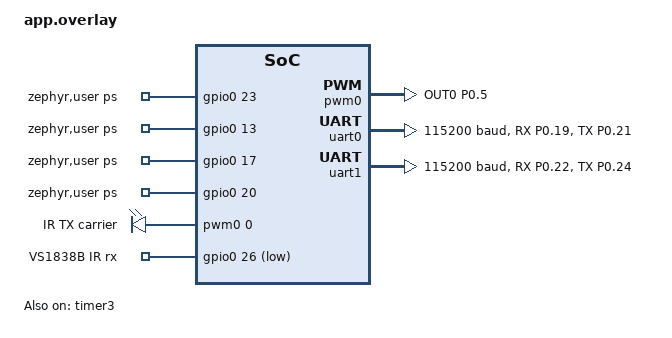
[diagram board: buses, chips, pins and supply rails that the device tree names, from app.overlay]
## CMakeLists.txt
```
# SPDX-License-Identifier: Apache-2.0

cmake_minimum_required(VERSION 3.20.0)
find_package(Zephyr REQUIRED HINTS $ENV{ZEPHYR_BASE})
project(TH-1-MOc)

set(NRF_CONFIG_NFCT_PINS_AS_GPIOS 1)
add_compile_definitions(NRF_CONFIG_NFCT_PINS_AS_GPIOS)

target_sources(app PRIVATE
    src/main.c
    src/ir_subsys.c
)
```

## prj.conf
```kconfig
CONFIG_LOG=y
CONFIG_GPIO=y
CONFIG_SERIAL=y
CONFIG_REBOOT=y
CONFIG_UART_INTERRUPT_DRIVEN=y

CONFIG_PWM=y
CONFIG_COUNTER=y

# Additional stack space for the main
# thread to handle long IR inputs
CONFIG_MAIN_STACK_SIZE=8192
```

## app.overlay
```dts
/ {
    chosen {
        zephyr,console = &uart0;
        zephyr,shell-uart = &uart0;
    };

    zephyr,user {
        // program select
        ps-gpios = <&gpio0 23 (GPIO_ACTIVE_HIGH)>,
                   <&gpio0 13 (GPIO_ACTIVE_HIGH)>,
                   <&gpio0 17 (GPIO_ACTIVE_HIGH)>,
                   <&gpio0 20 (GPIO_ACTIVE_HIGH)>;
    };

    ir_tx: ir_tx {
        compatible = "pwm-leds";
        status = "okay";

        ir_tx_led: ir_tx_led {
            pwms = <&pwm0 0 PWM_USEC(26) PWM_POLARITY_NORMAL>;
            label = "IR TX carrier";
        };
    };

    ir_rx: ir_rx {
        compatible = "gpio-keys";
        ir_rx_pin: ir_rx_pin {
            gpios = <&gpio0 26 (GPIO_ACTIVE_LOW | GPIO_PULL_UP)>;
            label = "VS1838B IR rx";
        };
    };

};

&pinctrl {
    uart0_default: uart0_default {
        group1 {
            psels = <NRF_PSEL(UART_RX, 0, 19)>,
                    <NRF_PSEL(UART_TX, 0, 21)>;
        };
    };

    uart1_default: uart1_default {
        group1 {
            psels = <NRF_PSEL(UART_RX, 0, 22)>,
                    <NRF_PSEL(UART_TX, 0, 24)>;
        };
    };

    pwm0_ir_default: pwm0_ir_default {
        group1 {
            psels = <NRF_PSEL(PWM_OUT0, 0, 5)>;
        };
    };

    pwm0_ir_sleep: pwm0_ir_sleep {
        group1 {
            psels = <NRF_PSEL(PWM_OUT0, 0, 5)>;
            low-power-enable;
        };
    };
};


&pwm0 {
    status = "okay";
    pinctrl-0 = <&pwm0_ir_default>;
    pinctrl-1 = <&pwm0_ir_sleep>;
    pinctrl-names = "default", "sleep";
};

&uart0 {
    status = "okay";
    current-speed = <115200>;
    pinctrl-0 = <&uart0_default>;
    pinctrl-names = "default";
    /delete-property/ pinctrl-1;
};

&uart1 {
    status = "okay";
    current-speed = <115200>;
    pinctrl-0 = <&uart1_default>;
    pinctrl-names = "default";
    /delete-property/ pinctrl-1;
};

// 16Mhz for IR
&timer3 {
    status = "okay";
    prescaler = <4>;
};

&uicr {
    nfct-pins-as-gpios;
    gpio-as-nreset;
};
```

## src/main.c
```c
#include <stdint.h>
#include <string.h>
#include <errno.h>

#include <zephyr/kernel.h>
#include <zephyr/device.h>
#include <zephyr/device.h>
#include <zephyr/devicetree.h>
#include <zephyr/drivers/uart.h>

#include <zephyr/logging/log.h>
#include <zephyr/logging/log_core.h>

#include "th_ble.h"
#include "th_infrared.h"


#define UART_DEVICE_NODE DT_CHOSEN(zephyr_shell_uart)


#define MSG_SIZE 512


// store up to 10 messages aligned to 4-byte boundary in a queue
K_MSGQ_DEFINE(uart_msgq, MSG_SIZE, 10, 4);
LOG_MODULE_REGISTER(TH_IO, LOG_LEVEL_INF);


static int rx_buf_pos;
static char rx_buf[MSG_SIZE];

const struct device *const uart_dev = DEVICE_DT_GET(DT_CHOSEN(zephyr_console));

void print_uart(char *buf);
void serial_cb(const struct device *dev, void *user_data);
int8_t argument_dispatch(char *input);

int main(void)
{
    int err;
    char tx_buf[MSG_SIZE];

    if (!device_is_ready(uart_dev))
    {
        LOG_ERR("Uart device is not ready!");
        return -1;
    }
    // configure interrupt and callback to receive data
    err = uart_irq_callback_user_data_set(uart_dev, serial_cb, NULL);
    if (err < 0)
    {
        if (err == -ENOTSUP)
            LOG_ERR("Interrupt-driver UART API support not enabled!");
        else if (err == -ENOSYS)
            LOG_ERR("UART device does not support interrupt-driven API!");
        else
            LOG_ERR("Error setting UART callback! (err: %d)", err);

        return 0;
    }

    uart_irq_rx_enable(uart_dev);
    LOG_INF("System initialised!");

    while (k_msgq_get(&uart_msgq, &tx_buf, K_FOREVER) == 0)
    {
        // I don't trust this thing
        tx_buf[MSG_SIZE-1] = '\0';
        print_uart(tx_buf);
        print_uart("\r\n");

        argument_dispatch(tx_buf);
    }
    return 0;

}


/*
 * Read characters from UART until line end is detected. Afterwards push the
 * data to the message queue.
 */
void serial_cb(const struct device *dev, void *user_data)
{
    uint8_t c;

    if (!uart_irq_update(uart_dev))
        return;

    if (!uart_irq_rx_ready(uart_dev))
        return;

    /* read until FIFO empty */
    while (uart_fifo_read(uart_dev, &c, 1) == 1)
    {
        if ((c == '\n' || c == '\r') && rx_buf_pos > 0)
        {
            /* terminate string */
            rx_buf[rx_buf_pos] = '\0';

            /* if queue is full, message is silently dropped */
            k_msgq_put(&uart_msgq, &rx_buf, K_NO_WAIT);

            /* reset the buffer (it was copied to the msgq) */
            rx_buf_pos = 0;
        }
        else if (rx_buf_pos < (sizeof(rx_buf) - 1))
        {
            rx_buf[rx_buf_pos++] = c;
        }
        /* else: characters beyond buffer size are dropped */
    }
}

/*
 * Print a null-terminated string character by character to the UART interface
 */
void print_uart(char *buf)
{
    int msg_len = strlen(buf);

    for (int i = 0; i < msg_len; i++) {
        uart_poll_out(uart_dev, buf[i]);
    }
}


/*
 * Dispatch the base level command (first word) to the 
 * correct sub-dispatcher.
 */
int8_t argument_dispatch(char *input)
{
    char *unprocessed;
    char *token = strtok_r(input, " ", &unprocessed);

    if (token == NULL)
        return -EINVAL;


    if (strcmp(token, "ble") == 0)
    {
        ble_argument_dispatch(unprocessed);
        return 0;
    }

    if (strcmp(token, "ir") == 0)
    {
        ir_argument_dispatch(unprocessed);
        return 0;
    }

    if (strcmp(input, "help") == 0)
    {
        LOG_INF("help");
        return 0;
    }

    LOG_WRN("Invalid command! (%s %s)", input, unprocessed);
    return -ENOSYS;
}
```

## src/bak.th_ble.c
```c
#include <string.h>
#include <stdint.h>
#include <stdbool.h>
#include <zephyr/kernel.h>
#include <zephyr/net_buf.h>
#include <zephyr/sys/util.h>
#include <zephyr/sys/printk.h>

#include <zephyr/bluetooth/hci.h>
#include <zephyr/bluetooth/gap.h>
#include <zephyr/bluetooth/att.h>
#include <zephyr/bluetooth/gatt.h>
#include <zephyr/bluetooth/conn.h>
#include <zephyr/bluetooth/addr.h>
#include <zephyr/bluetooth/uuid.h>
#include <zephyr/bluetooth/bluetooth.h>
#include <zephyr/bluetooth/assigned_numbers.h>


static void connected(struct bt_conn *conn, uint8_t err);
static void disconnected(struct bt_conn *conn, uint8_t reason);
static bool data_cb(struct bt_data *data, void *user_data);
static void device_found (const bt_addr_le_t *addr, int8_t rssi, uint8_t type, struct net_buf_simple *ad);
static uint8_t discover_callback(struct bt_conn *conn, const struct bt_gatt_attr *attr, struct bt_gatt_discover_params *params);


static struct bt_conn *target_conn;
static struct bt_le_scan_param scan_param = {
    .type      = BT_LE_SCAN_TYPE_ACTIVE,
    .options   = BT_LE_SCAN_OPT_NONE,
    .interval  = BT_GAP_SCAN_FAST_INTERVAL,
    .window    = BT_GAP_SCAN_FAST_WINDOW
};

struct bt_uuid_16 uuid = BT_UUID_INIT_16(0);
struct bt_gatt_discover_params discover_params = {0};
static bool restart_scanner = true;

BT_CONN_CB_DEFINE(conn_callbacks) = {
    .connected = connected,
    .disconnected = disconnected,
};


int ble_scan()
{
    int err;

    err = bt_enable(NULL);
    if (err)
    {
        printk("Bluetooth init failed.. (err: %d)\n", err);
        return -1;
    }

    while (true)
    {
        if (restart_scanner)
        {
            printk("Starting up scanner...\n");
            err = bt_le_scan_start(&scan_param, device_found);
            if (err)
            {
                printk("Failed to start scanning... (err: %d)\n", err);
                return -2;
            }
            restart_scanner = false;
        }
        k_sleep(K_SECONDS(1));
    }
    return 0;
}




static bool data_cb(struct bt_data *data, void *user_data)
{
    char *name = user_data;
    uint8_t len;

    switch (data->type)
    {
        case BT_DATA_NAME_COMPLETE:
        case BT_DATA_NAME_SHORTENED:
            // NOTE: 30 is the number that was defined in the original
            // bluetooth/sample/observer program. Not sure why.
            len = MIN(data->data_len, 30-1);
            memcpy(name, data->data, len);
            name[len] = '\0';
            return false;
        default: 
            return true;

    }
}


static void device_found (const bt_addr_le_t *addr, int8_t rssi, uint8_t type, struct net_buf_simple *ad)
{
    int err;
    if (target_conn)
    {
        printk("ignoring\n");
        return;
    }

    char addr_str[BT_ADDR_LE_STR_LEN];
    char name[] = "[Unknown]";

    bt_data_parse(ad, data_cb, name);
    bt_addr_le_to_str(addr, addr_str, sizeof(addr_str));

    if ((err = bt_le_scan_stop()) != 0)
    {
        printk("ERROR: Failed to stop scanning... (err: %d)\n", err);
        return;
    }


    /* if (rssi < -60) */
    /* { */
    /*     printk("Target found, but signal connection too low. (rssi: %d)\nRetrying in 1 second...\n", rssi); */
    /*     k_sleep(K_SECONDS(1)); */
    /*     restart_scanner = true; */
    /*     return; */
    /* } */


    printk("Target found!\n");

    if ((err = bt_conn_le_create(addr, BT_CONN_LE_CREATE_CONN, BT_LE_CONN_PARAM_DEFAULT, &target_conn) != 0))
    {
        printk("Failed to connect to target.. (err: %d)\n", err);
        return;
    }

}




static void connected(struct bt_conn *conn, uint8_t err)
{
    printk("Connected callback\n");
    int error;

    discover_params.uuid = NULL;
    discover_params.func = discover_callback;
    discover_params.start_handle = BT_ATT_FIRST_ATTRIBUTE_HANDLE;
    discover_params.end_handle   = BT_ATT_LAST_ATTRIBUTE_HANDLE;
    discover_params.type = BT_GATT_DISCOVER_CHARACTERISTIC;

    if ((error = bt_gatt_discover(conn, &discover_params)) != 0)
    {
        printk("Attribute discovery failed.. (err: %d)\n", err);
        return;
    }
}

static void disconnected(struct bt_conn *conn, uint8_t reason)
{
    printk("disconnected callback\n");
    printk("client disconnected. Reason: %d", reason);
    restart_scanner = true;
    target_conn = NULL;
    k_sleep(K_SECONDS(1));
    return;
}


static uint8_t discover_callback(struct bt_conn *conn, const struct bt_gatt_attr *attr, struct bt_gatt_discover_params *params)
{
    printk("Discover callback\n");
    if (!attr)
    {
        printk("Discovery complete!\n");
        (void)memset(params, 0, sizeof(*params));
        return BT_GATT_ITER_STOP;
    }

    char uuid_str[BT_UUID_STR_LEN];

    bt_uuid_to_str(attr->uuid, uuid_str, sizeof(uuid_str));
    printk("[ATTRIBUTE] Handle: %u, UUID: %s\n", attr->handle, uuid_str);


    if (params->type == BT_GATT_DISCOVER_PRIMARY || params->type == BT_GATT_DISCOVER_SECONDARY)
    {
        struct bt_gatt_chrc *val = (struct bt_gatt_chrc *)attr->user_data;
        printk("\tType: Service\n");
        printk("\tValue Handle: %u\n", val->value_handle);
        const struct bt_uuid *uuidl = val->uuid;
        bt_uuid_to_str(uuidl, uuid_str, sizeof(uuid_str));
        printk("\tUUID: %s\n", uuid_str);

    }
    else if (params->type == BT_GATT_DISCOVER_CHARACTERISTIC)
    {
        struct bt_gatt_chrc *val = (struct bt_gatt_chrc *)attr->user_data;
        printk("\tType: Characteristic\n");
        printk("\tValue Handle: %u\n", val->value_handle);
        printk("\tProperties: 0x%02x\n", val->properties);
    }
    else if (params->type == BT_GATT_DISCOVER_ATTRIBUTE)
    {
        struct bt_gatt_chrc *val = (struct bt_gatt_chrc *)attr->user_data;
        printk("\tType: Characteristic\n");
        printk("\tValue Handle: %u\n", val->value_handle);
        printk("\tProperties: 0x%02x\n", val->properties);
    }
    else if (params->type == BT_GATT_DISCOVER_DESCRIPTOR)
        printk("\tType: Descriptor");

    return BT_GATT_ITER_CONTINUE;
}
```

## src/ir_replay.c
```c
#include <stdint.h>
#include <stdlib.h>

#include <zephyr/kernel.h>
#include <zephyr/device.h>
#include <zephyr/sys/util.h>
#include <zephyr/devicetree.h>
#include <zephyr/drivers/pwm.h>
#include <zephyr/dt-bindings/pwm/pwm.h>

#include <zephyr/logging/log.h>
#include <zephyr/logging/log_core.h>


LOG_MODULE_REGISTER(ir_replay, LOG_LEVEL_INF);


// Carrier config
#define IR_CARRIER_HZ   38000U
#define IR_PERIOD_NS    PWM_HZ(IR_CARRIER_HZ)
#define IR_PULSE_NS     (IR_PERIOD_NS / 3U)   /* ~33% duty */


static const struct pwm_dt_spec ir_pwm = PWM_DT_SPEC_GET(DT_NODELABEL(ir_tx_led));


// This is just a test sequence, it turns on an IR controlled
// light I own.
static const uint32_t raw_data[] = {
    8995, 4461,  638,  512,  588,  528,  595,  532,  569,  563,
     598,  533,  599,  534,  598,  529,  590,  567,  551, 1635,
     617, 1611,  621, 1612,  598, 1638,  592, 1660,  606, 1608,
     619, 1615,  638, 1601,  592, 1654,  581,  536,  588, 1638,
     598,  530,  600,  534,  594,  537,  589, 1644,  589,  562,
     580,  534,  593, 1639,  592,  536,  611, 1627,  583, 1647,
     594, 1663,  574,  534,  590, 1646,  607, 39810, 9035, 2205
};

static const uint32_t raw_data1[] = {
    9015, 4467,  622,  527,  590,  526,  605,  524,  577,  554,
     624,  506,  572,  610,  559,  523,  594,  533,  599, 1622,
     643, 1572,  601, 1626,  662, 1601,  615, 1593,  601, 1634,
     622, 1607,  652, 1606,  607, 1608,  649, 1573,  634, 1607,
     621,  536,  598,  533,  598,  552,  558, 1629,  625,  528,
     594,  541,  593,  509,  594,  538,  641, 1597,  584, 1665,
     582, 1636,  589,  536,  593, 1632,  600, 39817, 9048, 2198
};

static int ir_transmit(const uint32_t *duration_us, size_t count);



int main(void)
{
    int err;

    if (!(err = pwm_is_ready_dt(&ir_pwm)))
    {
        LOG_ERR("PWM device %s is not ready! (err: %d)", ir_pwm.dev->name, err);
        return err;
    }


    /*
     * Make sure the carrier starts off. Setting period+pulse with
     * pulse=0 establishes the period without producing output.
     */
    if ((err = pwm_set_dt(&ir_pwm, IR_PERIOD_NS, 0)) != 0)
    {
        LOG_ERR("PWM initial set failed! (err: %d)", err);
        return err;
    }

    LOG_INF("IR replay ready. Period=%ld ns, pulse=%ld ns, %zu symbols", IR_PERIOD_NS, IR_PULSE_NS, ARRAY_SIZE(raw_data));



    while (1)
    {
        LOG_INF("Transmitting...");
        if ((err = ir_transmit(raw_data, ARRAY_SIZE(raw_data))) != 0)
        {
            LOG_ERR("Transmit failed! (err: %d)", err);
            return err;
        }
        k_sleep(K_SECONDS(1));

        if ((err = ir_transmit(raw_data1, ARRAY_SIZE(raw_data1))) != 0)
        {
            LOG_ERR("Transmit failed! (err: %d)", err);
            return err;
        }
        k_sleep(K_SECONDS(1));
    }
}



static int ir_transmit(const uint32_t *duration_us, size_t count)
{
    int err;

    for (size_t i = 0; i < count; i++)
    {
        const uint32_t us = duration_us[i];


        // Even offsets in the array are marks, odd ones are 0s
        if ((i & 1U) == 0U)
        {
            if ((err = pwm_set_pulse_dt(&ir_pwm, IR_PULSE_NS)) != 0)
            {
                LOG_ERR("PWM pulse generation failed! (err: %d)", err);
                return err;
            }
            k_busy_wait(us);

            if ((err = pwm_set_pulse_dt(&ir_pwm, 0)) != 0)
            {
                LOG_ERR("PWM off failed! (err: %d)", err);
                return err;
            }
        }
        else
        {
            k_busy_wait(us);
        }
    }
    return 0;
}















/*
 * Notes on BLE coexistence -- courtesy of Dario himself
 * ------------------------
 * This implementation runs from the main (preemptible) thread and uses
 * k_busy_wait() between PWM transitions. It will NOT disrupt BLE timing,
 * but BLE events WILL preempt it and insert gaps (typically <3 ms) into
 * the IR frame.
 *
 * If decode reliability with BLE active is poor, in order of escalating
 * effort:
 *   1. Re-send the frame 2-3x (NEC remotes do this anyway).
 *   2. Move the transmit loop into a cooperative-priority thread
 *      (K_PRIO_COOP(7) or so). This stops other application threads
 *      from preempting, but BLE interrupts still will.
 *   3. Switch the carrier driver to nrfx_pwm sequence playback, which
 *      runs entirely in the PWM peripheral via EasyDMA. The CPU only
 *      sets it up and gets a "done" interrupt — BLE can't disturb it.
 */
```

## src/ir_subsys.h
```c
#ifndef TH_IR_SUBSYS_H
#define TH_IR_SUBSYS_H

#include <stdint.h>

int8_t init_ir_subsys();

#endif
```

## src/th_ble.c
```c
#include <stdio.h>
#include <string.h>
#include <stdint.h>
#include <stdbool.h>
#include <zephyr/kernel.h>
#include <zephyr/net_buf.h>
#include <zephyr/sys/util.h>
#include <zephyr/sys/printk.h>
#include <zephyr/logging/log.h>
#include <zephyr/logging/log_core.h>

#include <zephyr/bluetooth/hci.h>
#include <zephyr/bluetooth/gap.h>
#include <zephyr/bluetooth/att.h>
#include <zephyr/bluetooth/gatt.h>
#include <zephyr/bluetooth/conn.h>
#include <zephyr/bluetooth/addr.h>
#include <zephyr/bluetooth/uuid.h>
#include <zephyr/bluetooth/bluetooth.h>
#include <zephyr/bluetooth/assigned_numbers.h>

#include "th_ble.h"
#include "bt_company_ids.h"

LOG_MODULE_REGISTER(TH_BLE, LOG_LEVEL_INF);

static struct bt_conn *active_conn;
static int MIN_RSSI = -100;

static bool ble_initialised = false;

/* static void connected(struct bt_conn *conn, uint8_t err); */
static bool data_cb(struct bt_data *data, void *user_data);
/* static void disconnected(struct bt_conn *conn, uint8_t reason); */
static void device_found (const bt_addr_le_t *addr, int8_t rssi, uint8_t type, struct net_buf_simple *ad);


static struct bt_le_scan_param scan_param = {
    .type      = BT_LE_SCAN_TYPE_ACTIVE,
    .options   = BT_LE_SCAN_OPT_NONE,
    .interval  = BT_GAP_SCAN_FAST_INTERVAL,
    .window    = BT_GAP_SCAN_FAST_WINDOW
};


struct bt_uuid_16 uuid = BT_UUID_INIT_16(0);
struct bt_gatt_discover_params discover_params = {0};




int8_t ble_argument_dispatch(char *input)
{
    int err;
    char *unprocessed;
    char *token = strtok_r(input, " ", &unprocessed);

    if (token == NULL)
    {
        LOG_WRN("Incomplete BLE command! (%s)", input);
        return -EINVAL;
    }

    if (strcmp(token, "scan") == 0)
    {
        token = strtok_r(NULL, " ", &unprocessed);
        if (token == NULL)
        {
            LOG_WRN("Incomplete ble scan command! (%s)", input);
            return -EINVAL;
        }

        if (strcmp(token, "start") == 0)
        {
            if (!ble_initialised)
                if ((err = ble_initialise()) != 0)
                    return err;
            return scan_start();
        }

        if (strcmp(token, "stop") == 0)
            return scan_stop();
    }

    if (strcmp(token, "find") == 0)
    {
        LOG_WRN("Not yet implemented!");
        return (int8_t)-ENOTSUP;
    }

    LOG_WRN("Incorrect BLE command! (%s)", input);
    return -ENOSYS;
}



/* BT_CONN_CB_DEFINE(conn_callbacks) = { */
/*     .connected = connected, */
/*     .disconnected = disconnected, */
/* }; */
/*  */
int8_t ble_initialise()
{
    int err;
    if ((err = bt_enable(NULL)))
    {
        LOG_ERR("Bluetooth module initialisation failed! (err: %d)\n", err);
        return -1;
    }
    ble_initialised = true;
    return 0;
}

int8_t scan_start()
{
    int err;
    if ((err = bt_le_scan_start(&scan_param, device_found)))
    {
        LOG_ERR("Failed to start scanning! (err: %d)", err);
        return -EIO;
    }
    return 0;
}

int8_t scan_stop()
{
    int err;
    if ((err = bt_le_scan_stop()) != 0)
    {
        printk("ERROR: Failed to stop scanning... (err: %d)\n", err);
        return -EIO;
    }
    return 0;
}


static void device_found (const bt_addr_le_t *addr, int8_t rssi, uint8_t type, struct net_buf_simple *ad)
{
    int err;
    if (active_conn)
    {
        LOG_INF("Ignoring connection while other in place.");
        return;
    }

    char addr_str[BT_ADDR_LE_STR_LEN];
    char name[256] = "[Unknown]";

    bt_data_parse(ad, data_cb, name);
    bt_addr_le_to_str(addr, addr_str, sizeof(addr_str));

    if (rssi < MIN_RSSI)
        return;

    LOG_INF("%s %s %d", name, addr_str, rssi);

    /* if ((err = bt_conn_le_create(addr, BT_CONN_LE_CREATE_CONN, BT_LE_CONN_PARAM_DEFAULT, &active_conn) != 0)) */
    /* { */
    /*     printk("Failed to connect to target.. (err: %d)\n", err); */
    /*     return; */
    /* } */

}


static bool data_cb(struct bt_data *data, void *user_data)
{
    char *name = user_data;
    uint8_t len;
    uint8_t name_len = 0;

    switch (data->type)
    {
        case BT_DATA_MANUFACTURER_DATA:
            // Need at least 2 bytes for company ID
            if (data->data_len < 3)
                return true; // continue parsing

            // Company ID is little-endian in the first 2 bytes
            uint16_t company_id = data->data[0] | (data->data[1] << 8);

            int cname_len;
            // returns 0 or negative if not found
            if ((cname_len = search_company_id(company_id, name, MAX_NAME_LEN/2)) > 0)
                name_len += cname_len;

            uint8_t br_type = data->data[2];

            switch (br_type)
            {
                case 0x12:
                    snprintf((char *)name+name_len, MAX_NAME_LEN - name_len,  "%s", " FindMy device ");
                    name_len += 14;
                    break;
                default:
                    snprintf((char *)name+name_len, MAX_NAME_LEN - name_len,  "%s", " device ");
                    name_len += 7;
            }

            name[name_len] = '\0';
            return true;

        case BT_DATA_NAME_COMPLETE:
        case BT_DATA_NAME_SHORTENED:
            // NOTE: 30 is the number that was defined in the original
            // bluetooth/sample/observer program. Not sure why.
            len = MIN(data->data_len, 30-1);
            memcpy(name, data->data, len);
            name[len] = '\0';
            return false;
        default: 
            return true;

    }
}

int8_t search_company_id(uint16_t cid, char *c_name, size_t c_name_size)
{
    for (int i = 0; i < BT_COMPANY_IDS_COUNT; i++)
    {
        if (bt_company_ids[i].code == cid)
            return snprintf(c_name, c_name_size, "%s", bt_company_ids[i].name);
    }
    return -1;
}
```

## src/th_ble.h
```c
#ifndef TH_BLE_H
#define TH_BLE_H
#include <stdint.h>
#include <stdlib.h>


#define MAX_NAME_LEN 256

int8_t ble_initialise();
int8_t ble_argument_dispatch(char *input);

int8_t scan_stop();
int8_t scan_start();
int8_t search_company_id(uint16_t cid, char *c_name, size_t c_name_size);

#endif
```

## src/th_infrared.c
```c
#include <stdio.h>
#include <string.h>
#include <stdint.h>
#include <stdlib.h>
#include <stdbool.h>

#include <zephyr/kernel.h>
#include <zephyr/device.h>
#include <zephyr/toolchain.h>

#include <zephyr/devicetree.h>
#include <zephyr/dt-bindings/pwm/pwm.h>

#include <zephyr/drivers/pwm.h>
#include <zephyr/drivers/gpio.h>
#include <zephyr/drivers/counter.h>

#include <zephyr/sys/util.h>
#include <zephyr/sys/util_macro.h>

#include <zephyr/logging/log.h>
#include <zephyr/logging/log_core.h>


LOG_MODULE_REGISTER(TH_IR, LOG_LEVEL_INF);


// TX config
#define IR_CARRIER_HZ   38000U
#define IR_PERIOD_NS    PWM_HZ(IR_CARRIER_HZ)
#define IR_PULSE_NS     (IR_PERIOD_NS / 3U)   /* ~33% duty */

// RX config
#define MAX_EDGES        500
#define FRAME_GAP_MS     150
#define EDGE_QUEUE_DEPTH 64 // ISR thread handoff buffer


static const struct pwm_dt_spec ir_tx_pwm = PWM_DT_SPEC_GET(DT_NODELABEL(ir_tx_led));
static const struct gpio_dt_spec ir_rx_pin = GPIO_DT_SPEC_GET(DT_NODELABEL(ir_rx_pin), gpios);
static const struct device *const rx_counter_dev = DEVICE_DT_GET(DT_NODELABEL(timer2));

static bool ir_tx_setup_done = false;
static bool ir_rx_setup_done = false;
static bool ir_rx_watch_once = true;

static int8_t ir_tx_setup();
static int8_t ir_tx(const uint32_t *duration_us, size_t count);
static int ir_txt_process_sample_count(char *input);
static int ir_txt_process(char *input, uint32_t *raw_frame, int num_samples);

static int8_t ir_rx_setup();
static int8_t rx_init_handler();
static int8_t rx_deinit_handler();
static int8_t rx_watch_once();
static int8_t rx_watch_continuous();
static void emit_frame();
static void frame_complete_handler(struct k_work *work);
static inline uint32_t ticks_to_us(uint32_t delta_ticks);

//RX ISR config
struct edge_event {
    uint32_t ticks;
};
struct gpio_callback ir_rx_cb_data;
K_MSGQ_DEFINE(edge_msgq, sizeof(struct edge_event), EDGE_QUEUE_DEPTH, 4);
static void ir_rx_isr(const struct device *port, struct gpio_callback *cb, gpio_port_pins_t pins);

// RX frame config
static uint32_t edge_tick[MAX_EDGES];
static size_t edge_count;
// Can cache the frequency at startup so ticks_to_us() doesn't
// have to call into the driver on every edge.
static uint32_t counter_freq;


// For the idle gap detector
static K_WORK_DELAYABLE_DEFINE(frame_complete_work, frame_complete_handler);


/* ----------------------------- */
/*           dispatch            */
/* ----------------------------- */

int8_t ir_argument_dispatch(char *input)
{
    int err;
    char *unprocessed;
    char *token = strtok_r(input, " ", &unprocessed);

    if (token == NULL)
    {
        LOG_WRN("Incomplete IR command! (%s)", input);
        return -EINVAL;
    }


    if (strcmp(token, "play") == 0)
    {
        if (!ir_tx_setup_done)
        {
            if ((err = ir_tx_setup()) != 0)
            {
                LOG_ERR("IR_RX setup failed! (err: %d)", err);
                return err;
            }
        }

        int num_samples = ir_txt_process_sample_count(unprocessed);
        uint32_t raw_frame[num_samples];
        if ((err = ir_txt_process(unprocessed, raw_frame, num_samples)) != 0)
        {
            LOG_ERR("String processing error! (err: %d)", err);
            return err;
        }

        return ir_tx(raw_frame, num_samples);
    }
    else if (strcmp(token, "record") == 0)
    {
        if (!ir_rx_setup_done)
        {
            if ((err = ir_rx_setup()) != 0)
            {
                LOG_ERR("IR_RX setup failed! (err: %d)", err);
                return err;
            }
        }

        token = strtok_r(NULL, " ", &unprocessed);
        if (token == NULL)
        {
            LOG_INF("Waiting for IR signal...");
            return rx_watch_once();
        }
        else if (strcmp(token, "con") == 0)
        {
            LOG_INF("Waiting for IR signal...");
            return rx_watch_continuous();
        }
        else if (strcmp(token, "stop") == 0)
        {
            LOG_INF("No longer recording IR");
            return rx_deinit_handler();
        }
    }

    return 0;
}



/* ----------------------------- */
/*              IR TX            */
/* ----------------------------- */

static int8_t ir_tx_setup()
{
    int err;

    if (!(err = pwm_is_ready_dt(&ir_tx_pwm)))
    {
        LOG_ERR("PWM device %s is not ready! (err: %d)", ir_tx_pwm.dev->name, err);
        return err;
    }


    /*
     * Make sure the carrier starts off. Setting period+pulse with
     * pulse=0 establishes the period without producing output.
     */
    if ((err = pwm_set_dt(&ir_tx_pwm, IR_PERIOD_NS, 0)) != 0)
    {
        LOG_ERR("PWM initial set failed! (err: %d)", err);
        return err;
    }

    LOG_INF("IR_TX module ready! Period=%ld ns, pulse=%ld ns", IR_PERIOD_NS, IR_PULSE_NS);

    ir_tx_setup_done = true;

    return 0;
}


static int ir_txt_process(char *input, uint32_t *raw_frame, int num_samples)
{
    int n;
    int consumed = 0;

    for (size_t i = 0; i < num_samples; i++)
    {
        if ((n = sscanf(input, "%u%n", &raw_frame[i], &consumed)) != 1)
        {
            LOG_ERR("Error processing user string, invalid data at index %d", i);
            return -EINVAL;
        }
        input += consumed;
    }


    return 0;
}

static int ir_txt_process_sample_count(char *input)
{
    int samples = 0;
    char current;
    char previous = ' ';
    size_t inputlen = strlen(input);

    for (size_t i = 0; i < inputlen; i++)
    {
        current = input[i];

        if (current != ' ' && previous == ' ')
            samples++;

        previous = input[i];
    }
    return samples;
}




// NOTE this function takes a binary input.
// I will either need to change it to take a text input or make
// a different function to translate it (probably the second).
static int8_t ir_tx(const uint32_t *duration_us, size_t count)
{

    if (!ir_tx_setup_done)
    {
        LOG_ERR("IR_TX function called before IR pins are setup!");
        return -1;
    }

    int err;

    for (size_t i = 0; i < count; i++)
    {
        const uint32_t us = duration_us[i];


        // Even offsets in the array are marks, odd ones are 0s
        if ((i & 1U) == 0U)
        {
            if ((err = pwm_set_pulse_dt(&ir_tx_pwm, IR_PULSE_NS)) != 0)
            {
                LOG_ERR("PWM pulse generation failed! (err: %d)", err);
                return err;
            }
            k_busy_wait(us);

            if ((err = pwm_set_pulse_dt(&ir_tx_pwm, 0)) != 0)
            {
                LOG_ERR("PWM off failed! (err: %d)", err);
                return err;
            }
        }
        else
        {
            k_busy_wait(us);
        }
    }
    return 0;
}


/* ----------------------------- */
/*              IR RX            */
/* ----------------------------- */

static int8_t ir_rx_setup()
{
    int err;

    if (!(err = gpio_is_ready_dt(&ir_rx_pin)))
    {
        LOG_ERR("IR_RX GPIO not ready! (err: %d)", err);
        return -ENODEV;
    }


    if (!(err = device_is_ready(rx_counter_dev)))
    {
        LOG_ERR("IR_RX counter device not ready! (err: %d)", err);
        return -ENODEV;
    }

    // Checking for 0 to avoid div by zero errors coming up
    // later. Although 0 in itself is most likely invalid anyway.
    if ((counter_freq = counter_get_frequency(rx_counter_dev)) == 0)
    {
        LOG_ERR("IR counter reports an invalid frequency of 0");
        return -EINVAL;
    }

    // Start the counter
    // the counter should count up at 1mhz. After bit more
    // than an hour it should overflow and restart. This is
    // not a concern.
    if ((err = counter_start(rx_counter_dev)) != 0)
    {
        LOG_ERR("Starting IR counter failed! (err: %d)", err);
        return err;
    }
    LOG_INF("IR counter device ready!");

    if ((err = gpio_pin_configure_dt(&ir_rx_pin, GPIO_INPUT)) != 0)
    {
        LOG_ERR("Failed to configure IR receiver pin! (err: %d)", err);
        return err;
    }


    gpio_init_callback(&ir_rx_cb_data, ir_rx_isr, BIT(ir_rx_pin.pin));
    gpio_add_callback(ir_rx_pin.port, &ir_rx_cb_data);

    LOG_INF("IR receiver device ready!");
    ir_rx_setup_done = true;

    return 0;
}


static int8_t rx_init_handler()
{
    int err;
    // The VS1838B receiver will give a digital output
    // corresponding to the received IR signal.
    if ((err = gpio_pin_interrupt_configure_dt(&ir_rx_pin, GPIO_INT_EDGE_BOTH)) != 0)
    {
        LOG_ERR("Failed to configure GPIO edge interrupt! (err: %d)", err);
        return err;
    }
    return 0;
}


static int8_t rx_deinit_handler()
{
    int err;
    if ((err = gpio_pin_interrupt_configure_dt(&ir_rx_pin, GPIO_INT_DISABLE)))
    {
        LOG_ERR("Error occurred while trying to de-register the IR handler! (err: %d)", err);
        return err;
    }
    return 0;
}


static int8_t rx_watch_once()
{
    if (!ir_rx_setup_done)
    {
        LOG_ERR("IR_RX function called before receiver is setup!");
        return -EINVAL;
    }
    // ISR thread disables itself if true
    ir_rx_watch_once = true;

    return rx_init_handler();
}

static int8_t rx_watch_continuous()
{
    if (!ir_rx_setup_done)
    {
        LOG_ERR("IR_RX function called before receiver is setup!");
        return -EINVAL;
    }
    // ISR thread disables itself if true
    ir_rx_watch_once = false;

    return rx_init_handler();
}


// ISR thread
static void ir_rx_isr(const struct device *port, struct gpio_callback *cb, gpio_port_pins_t pins)
{
    ARG_UNUSED(port);
    ARG_UNUSED(cb);
    ARG_UNUSED(pins);

    struct edge_event ev;

    if (counter_get_value(rx_counter_dev, &ev.ticks) != 0)
        return;


    (void)k_msgq_put(&edge_msgq, &ev, K_NO_WAIT);
}



static inline uint32_t ticks_to_us(uint32_t delta_ticks)
{
    return (uint32_t)(((uint64_t)delta_ticks * 1000000U) / counter_freq);
}

static void emit_frame()
{
    // incomplete packet
    if (edge_count < 2)
        return;


    size_t n_durations = edge_count -1;

    // The format requires alternating mark/space pairs. If
    // we somehow get an odd number (incomplete packet),
    // then just drop the last one.
    if (n_durations & 1U)
        n_durations--;

    if (n_durations == 0)
        return;


    static char output_buf[3600];
    int offset = 0;

    offset += snprintf(output_buf + offset, sizeof(output_buf) - offset, "data:");

    for (size_t i = 0; i < n_durations; i++) {
        uint32_t delta = edge_tick[i + 1] - edge_tick[i];
        offset += snprintf(output_buf + offset, sizeof(output_buf) - offset,
                           " %u", ticks_to_us(delta));
    }

    LOG_INF("Captured IR packet");
    LOG_INF("type: raw");
    LOG_INF("frequency: 38000");
    LOG_INF("duty_cycle: 0.330000");
    LOG_INF("%s", output_buf);
}


// Run when the IR has been silent for FRAME_GAP_MS
static void frame_complete_handler(struct k_work *work)
{
    ARG_UNUSED(work);

    emit_frame();

    edge_count = 0;

    if (ir_rx_watch_once)
        rx_deinit_handler();
}


static void ir_rx_consumer_thread(void *a, void *b, void *c)
{
    ARG_UNUSED(a);
    ARG_UNUSED(b);
    ARG_UNUSED(c);


    struct edge_event ev;


    while (1)
    {
        k_msgq_get(&edge_msgq, &ev, K_FOREVER);

        if (edge_count < MAX_EDGES)
            edge_tick[edge_count++] = ev.ticks;
        else
            LOG_WRN("Truncated frame due to MAX_EDGES limit!");

        // reset the frame end counter
        k_work_reschedule(&frame_complete_work, K_MSEC(FRAME_GAP_MS));
    }

}

// Always running with cooperative priority
K_THREAD_DEFINE(ir_rx_consumer_tid, 1024, ir_rx_consumer_thread,
        NULL, NULL, NULL,
        K_PRIO_COOP(7), 0, 0);
```

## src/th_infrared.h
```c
#ifndef TH_INFRARED_H
#define TH_INFRARED_H

#include <stdint.h>


int8_t ir_argument_dispatch(char *input);

#endif
```
